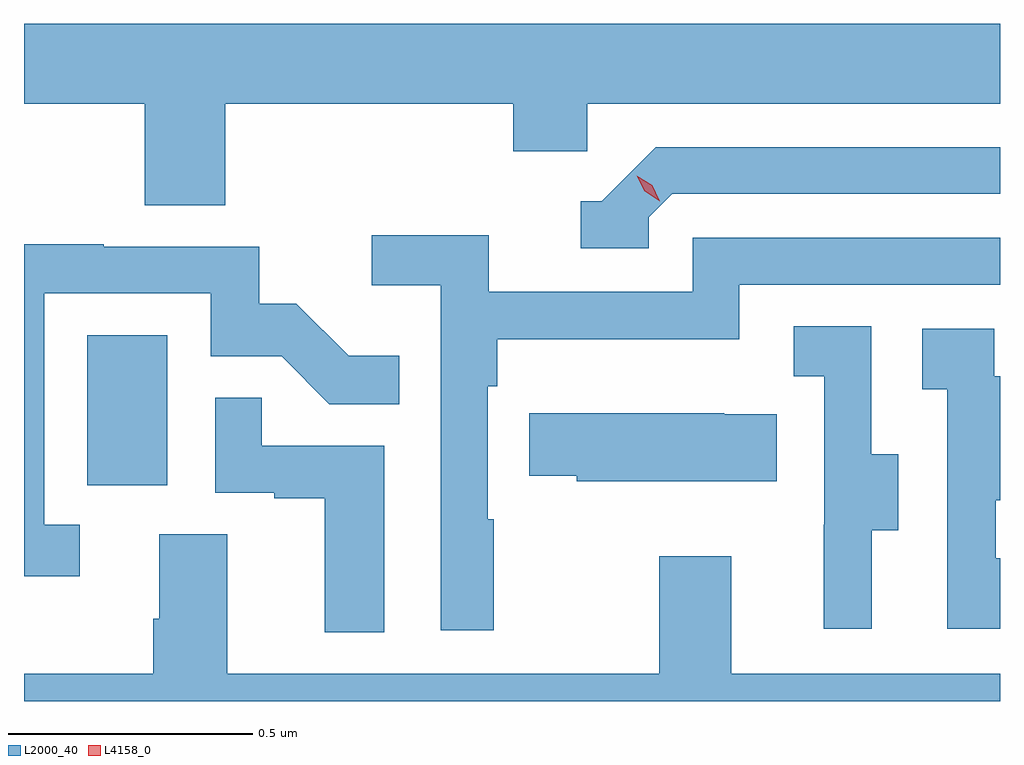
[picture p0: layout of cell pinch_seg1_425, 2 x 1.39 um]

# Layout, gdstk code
import gdstk
lib = gdstk.Library(unit=1e-6, precision=1e-09)
def R(c, l, rs):  # rectangles x0, y0, x1, y1
    for r in rs: c.add(gdstk.rectangle(r[:2], r[2:], *l))
def P(c, l, *ps):  # polygons
    for p in ps: c.add(gdstk.Polygon(p, *l))
L2000_40 = (2000, 40)
L4158_0 = (4158, 0)

pinch_seg1_425 = lib.new_cell('pinch_seg1_425')
R(pinch_seg1_425, L2000_40, [(903.914,540.294,904.078,540.601)])
P(pinch_seg1_425, L2000_40, [(904.196,541.076),(904.787,541.076),(904.787,540.978),(904.938,540.978),(904.938,541.076),(905.784,541.076),(905.784,541.24),(903.784,541.24),(903.784,541.076),(904.031,541.076),(904.031,540.868),(904.196,540.868)],
  [(905.064,540.843),(905.112,540.891),(905.784,540.891),(905.784,540.987),(905.079,540.987),(904.968,540.876),(904.925,540.876),(904.925,540.78),(905.064,540.78)],
  [(904.747,540.224),(904.734,540.224),(904.734,540.497),(904.754,540.497),(904.754,540.593),(905.25,540.593),(905.25,540.705),(905.784,540.705),(905.784,540.801),(905.154,540.801),(905.154,540.69),(904.736,540.69),(904.736,540.806),(904.497,540.806),(904.497,540.704),(904.638,540.704),(904.638,539.997),(904.747,539.997)],
  [(903.898,540.213),(903.825,540.213),(903.825,540.687),(904.167,540.687),(904.167,540.558),(904.312,540.558),(904.41,540.46),(904.553,540.46),(904.553,540.559),(904.449,540.559),(904.342,540.666),(904.266,540.666),(904.266,540.783),(903.947,540.783),(903.947,540.788),(903.784,540.788),(903.784,540.108),(903.898,540.108)],
  [(905.521,540.202),(905.575,540.202),(905.575,540.357),(905.52,540.357),(905.52,540.62),(905.361,540.62),(905.361,540.517),(905.424,540.517),(905.424,540.213),(905.423,540.213),(905.423,540),(905.521,540)],
  [(905.784,540.144),(905.775,540.144),(905.775,540.263),(905.784,540.263),(905.784,540.517),(905.772,540.517),(905.772,540.615),(905.625,540.615),(905.625,540.491),(905.676,540.491),(905.676,540),(905.784,540)],
  [(904.522,540.375),(904.271,540.375),(904.271,540.473),(904.176,540.473),(904.176,540.279),(904.297,540.279),(904.297,540.267),(904.4,540.267),(904.4,539.993),(904.522,539.993)],
  [(905.327,540.439),(905.219,540.439),(905.219,540.442),(904.819,540.442),(904.819,540.313),(904.917,540.313),(904.917,540.302),(905.327,540.302)],
  [(905.784,539.908),(905.233,539.908),(905.233,540.148),(905.086,540.148),(905.086,539.908),(904.201,539.908),(904.201,540.194),(904.061,540.194),(904.061,540.02),(904.049,540.02),(904.049,539.908),(903.784,539.908),(903.784,539.851),(905.784,539.851)])
P(pinch_seg1_425, L4158_0, [(905.087,540.876),(905.056,540.896),(905.04,540.928),(905.04,540.928),(905.04,540.928),(905.071,540.909),(905.087,540.876),(905.087,540.876)])

lib.write_gds('pinch_seg1_425.gds')
